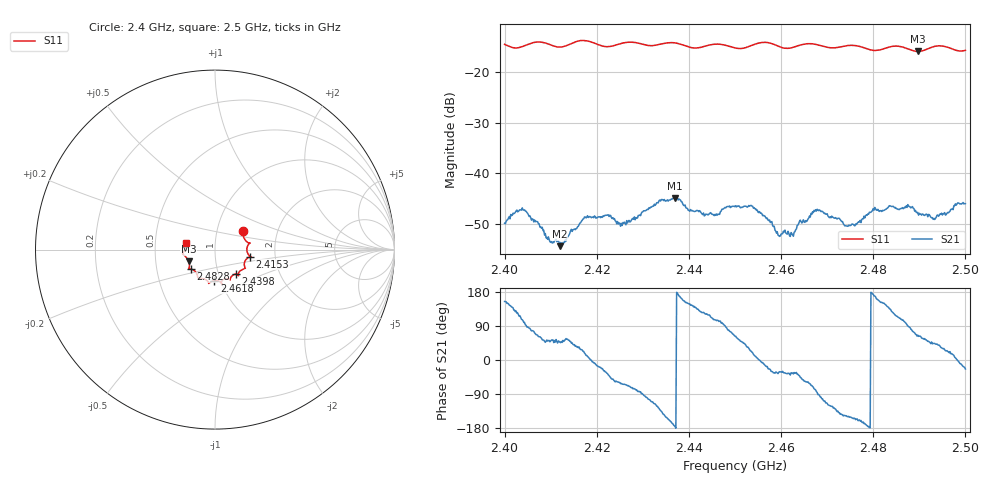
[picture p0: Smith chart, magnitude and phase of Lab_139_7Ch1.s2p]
# Hz S RI R 50
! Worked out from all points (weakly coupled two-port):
!   601 points, 2.4 GHz to 2.5 GHz, reference 50 ohm
!   highest |S21| = -44.87 dB at 2.437 GHz (marker M1); lowest = -54.4 dB at 2.412 GHz (marker M2)
!   lowest |S11| = -15.9 dB at 2.4897 GHz (marker M3), VSWR 1.38, Z = 36.9 - j4.87 ohm
!   |S11| at or under -10 dB: start of sweep to end of sweep
!   S12 and S22 are empty: the file has one direction only
!   S11 on the Smith chart (normalised r, x): 2.4 GHz: 1.33, +0.29; 2.4153 GHz: 1.48, -0.12; 2.4398 GHz: 1.21, -0.34; 2.4618 GHz: 0.94, -0.33; 2.4828 GHz: 0.74, -0.17; 2.5 GHz: 0.72, +0.06
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2.4e9  0.156 0.1063  -0.0029 0.00138  0 0  0 0
2.404167e9  0.1764 0.0449  -0.000677 0.00427  0 0  0 0
2.412e9  0.1772 -0.000531  0.0013 0.00139  0 0  0 0
2.415333e9  0.1957 -0.0388  0.00224 0.00163  0 0  0 0
2.416667e9  0.2016 -0.0425  0.00298 0.00155  0 0  0 0
2.4225e9  0.1653 -0.0693  0.00301 -0.00245  0 0  0 0
2.425667e9  0.1671 -0.0999  0.00144 -0.00293  0 0  0 0
2.433333e9  0.1303 -0.1347  -0.00297 -0.00415  0 0  0 0
2.437e9  0.1317 -0.1442  -0.00569 -0.000413  0 0  0 0
2.439833e9  0.115 -0.1365  -0.00371 0.00221  0 0  0 0
2.445833e9  0.0835 -0.1704  -0.00102 0.0037  0 0  0 0
2.45e9  0.0648 -0.1615  0.00213 0.00416  0 0  0 0
2.453833e9  0.036 -0.1824  0.00447 0.00154  0 0  0 0
2.459333e9  0.0282 -0.1793  0.00198 -0.00144  0 0  0 0
2.461833e9  -0.00326 -0.1732  0.00196 -0.00141  0 0  0 0
2.466667e9  -0.0353 -0.1881  0.0015 -0.00363  0 0  0 0
2.4745e9  -0.0912 -0.1597  -0.00258 -0.00151  0 0  0 0
2.482833e9  -0.1358 -0.1088  -0.00359 0.0026  0 0  0 0
2.483333e9  -0.1396 -0.1087  -0.00352 0.00308  0 0  0 0
2.489667e9  -0.1472 -0.0642  0.00169 0.00374  0 0  0 0
2.493167e9  -0.1776 -0.0262  0.00259 0.00248  0 0  0 0
2.5e9  -0.1602 0.0392  0.00459 -0.00201  0 0  0 0
